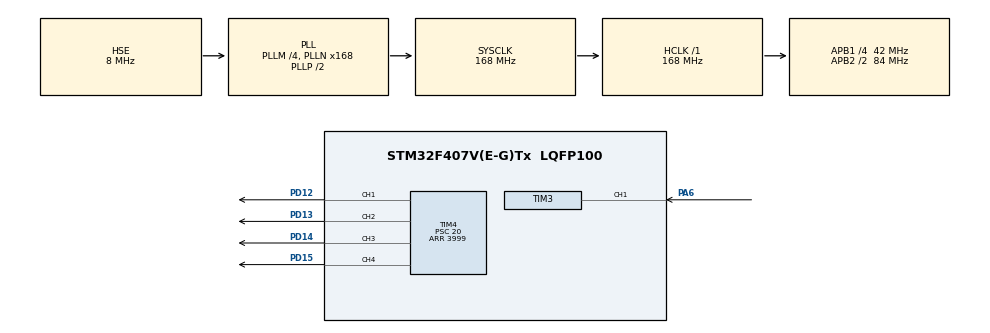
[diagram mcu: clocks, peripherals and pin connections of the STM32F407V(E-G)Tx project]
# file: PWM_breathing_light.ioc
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Mcu.Family=STM32F4
Mcu.Name=STM32F407V(E-G)Tx
Mcu.Package=LQFP100
NVIC.PriorityGroup=NVIC_PRIORITYGROUP_4
PA6.Signal=S_TIM3_CH1
PD12.Signal=S_TIM4_CH1
PD13.Signal=S_TIM4_CH2
PD14.Signal=S_TIM4_CH3
PD15.Signal=S_TIM4_CH4
PH0-OSC_IN.Mode=HSE-External-Oscillator
PH0-OSC_IN.Signal=RCC_OSC_IN
PH1-OSC_OUT.Mode=HSE-External-Oscillator
PH1-OSC_OUT.Signal=RCC_OSC_OUT
ProjectManager.HeapSize=0x200
ProjectManager.StackSize=0x400
ProjectManager.TargetToolchain=STM32CubeIDE
RCC.48MHZClocksFreq_Value=84000000
RCC.AHBFreq_Value=168000000
RCC.APB1CLKDivider=RCC_HCLK_DIV4
RCC.APB1Freq_Value=42000000
RCC.APB1TimFreq_Value=84000000
RCC.APB2CLKDivider=RCC_HCLK_DIV2
RCC.APB2Freq_Value=84000000
RCC.APB2TimFreq_Value=168000000
RCC.CortexFreq_Value=168000000
RCC.HCLKFreq_Value=168000000
RCC.HSE_VALUE=8000000
RCC.HSI_VALUE=16000000
RCC.LSE_VALUE=32768
RCC.PLLM=4
RCC.PLLN=168
RCC.PLLSourceVirtual=RCC_PLLSOURCE_HSE
RCC.SYSCLKFreq_VALUE=168000000
RCC.SYSCLKSource=RCC_SYSCLKSOURCE_PLLCLK
RCC.VCOOutputFreq_Value=336000000
SH.S_TIM3_CH1.0=TIM3_CH1,Input_Capture1_from_TI1
SH.S_TIM4_CH1.0=TIM4_CH1,PWM Generation1 CH1
SH.S_TIM4_CH2.0=TIM4_CH2,PWM Generation2 CH2
SH.S_TIM4_CH3.0=TIM4_CH3,PWM Generation3 CH3
SH.S_TIM4_CH4.0=TIM4_CH4,PWM Generation4 CH4
TIM3.Channel-Input_Capture1_from_TI1=TIM_CHANNEL_1
TIM4.Channel-PWM\ Generation1\ CH1=TIM_CHANNEL_1
TIM4.Channel-PWM\ Generation2\ CH2=TIM_CHANNEL_2
TIM4.Channel-PWM\ Generation3\ CH3=TIM_CHANNEL_3
TIM4.Channel-PWM\ Generation4\ CH4=TIM_CHANNEL_4
TIM4.Period=3999
TIM4.Prescaler=20
VP_TIM3_VS_ClockSourceINT.Mode=Internal
VP_TIM4_VS_ClockSourceINT.Mode=Internal
board=custom

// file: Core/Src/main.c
/* USER CODE BEGIN Header */
/**
  ******************************************************************************
  * @file           : main.c
  * @brief          : Main program body
  ******************************************************************************
  * @attention
  *
  * Copyright (c) 2026 STMicroelectronics.
  * All rights reserved.
  *
  * This software is licensed under terms that can be found in the LICENSE file
  * in the root directory of this software component.
  * If no LICENSE file comes with this software, it is provided AS-IS.
  *
  ******************************************************************************
  */
/* USER CODE END Header */
#include "main.h"

TIM_HandleTypeDef htim3;
TIM_HandleTypeDef htim4;

void SystemClock_Config(void);
static void MX_GPIO_Init(void);
static void MX_TIM4_Init(void);
static void MX_TIM3_Init(void);

/* USER CODE BEGIN 0 */

const uint16_t gamma_table[64] = {
    0,     1,     2,     3,     5,     7,    10,    14,
   20,    26,    33,    42,    52,    63,    76,    90,
  106,   124,   143,   164,   187,   213,   240,   270,
  302,   336,   372,   412,   453,   498,   545,   595,
  648,   704,   763,   825,   891,   960,  1032,  1108,
 1188,  1271,  1359,  1450,  1546,  1646,  1750,  1858,
 1971,  2088,  2210,  2337,  2468,  2605,  2747,  2894,
 3046,  3204,  3368,  3537,  3712,  3893,  3950,  3999
};

/* USER CODE END 0 */

int main(void)
{

  /* MCU Configuration--------------------------------------------------------*/

  /* Reset of all peripherals, Initializes the Flash interface and the Systick. */
  HAL_Init();

  /* Configure the system clock */
  SystemClock_Config();

  /* Initialize all configured peripherals */
  MX_GPIO_Init();
  MX_TIM4_Init();
  MX_TIM3_Init();
  /* USER CODE BEGIN 2 */

  HAL_TIM_PWM_Start(&htim4, TIM_CHANNEL_1); // 啟動綠燈 (PD12)
  HAL_TIM_PWM_Start(&htim4, TIM_CHANNEL_2); // 啟動橘燈 (PD13)
  HAL_TIM_PWM_Start(&htim4, TIM_CHANNEL_3); // 啟動紅燈 (PD14)
  HAL_TIM_PWM_Start(&htim4, TIM_CHANNEL_4); // 啟動藍燈 (PD15)
  /* USER CODE END 2 */

  /* Infinite loop */
  /* USER CODE BEGIN WHILE */
  uint8_t index = 0;
  while (1)
  {
	  // 逐漸變亮：遍歷 64 階 Gamma 曲線
	        for (index = 0; index < 64; index++)
	        {
	            __HAL_TIM_SET_COMPARE(&htim4, TIM_CHANNEL_1, gamma_table[index]);
	            __HAL_TIM_SET_COMPARE(&htim4, TIM_CHANNEL_2, gamma_table[index]);
	            __HAL_TIM_SET_COMPARE(&htim4, TIM_CHANNEL_3, gamma_table[index]);
	            __HAL_TIM_SET_COMPARE(&htim4, TIM_CHANNEL_4, gamma_table[index]);
	            HAL_Delay(25); // 每 25 毫秒更新一次亮度（從暗到最亮約 1.6 秒）
	        }

	        // 逐漸變暗
	        for (index = 63; index > 0; index--)
	        {
	            __HAL_TIM_SET_COMPARE(&htim4, TIM_CHANNEL_1, gamma_table[index]);
	            __HAL_TIM_SET_COMPARE(&htim4, TIM_CHANNEL_2, gamma_table[index]);
	            __HAL_TIM_SET_COMPARE(&htim4, TIM_CHANNEL_3, gamma_table[index]);
	            __HAL_TIM_SET_COMPARE(&htim4, TIM_CHANNEL_4, gamma_table[index]);
	            HAL_Delay(25); // 每 25 毫秒更新一次亮度
	        }
    /* USER CODE END WHILE */

  }
}

void SystemClock_Config(void)
{
  RCC_OscInitTypeDef RCC_OscInitStruct = {0};
  RCC_ClkInitTypeDef RCC_ClkInitStruct = {0};

  /** Configure the main internal regulator output voltage
  */
  __HAL_RCC_PWR_CLK_ENABLE();
  __HAL_PWR_VOLTAGESCALING_CONFIG(PWR_REGULATOR_VOLTAGE_SCALE1);

  /** Initializes the RCC Oscillators according to the specified parameters
  * in the RCC_OscInitTypeDef structure.
  */
  RCC_OscInitStruct.OscillatorType = RCC_OSCILLATORTYPE_HSE;
  RCC_OscInitStruct.HSEState = RCC_HSE_ON;
  RCC_OscInitStruct.PLL.PLLState = RCC_PLL_ON;
  RCC_OscInitStruct.PLL.PLLSource = RCC_PLLSOURCE_HSE;
  RCC_OscInitStruct.PLL.PLLM = 4;
  RCC_OscInitStruct.PLL.PLLN = 168;
  RCC_OscInitStruct.PLL.PLLP = RCC_PLLP_DIV2;
  RCC_OscInitStruct.PLL.PLLQ = 4;
  if (HAL_RCC_OscConfig(&RCC_OscInitStruct) != HAL_OK)
  {
    Error_Handler();
  }

  /** Initializes the CPU, AHB and APB buses clocks
  */
  RCC_ClkInitStruct.ClockType = RCC_CLOCKTYPE_HCLK|RCC_CLOCKTYPE_SYSCLK
                              |RCC_CLOCKTYPE_PCLK1|RCC_CLOCKTYPE_PCLK2;
  RCC_ClkInitStruct.SYSCLKSource = RCC_SYSCLKSOURCE_PLLCLK;
  RCC_ClkInitStruct.AHBCLKDivider = RCC_SYSCLK_DIV1;
  RCC_ClkInitStruct.APB1CLKDivider = RCC_HCLK_DIV4;
  RCC_ClkInitStruct.APB2CLKDivider = RCC_HCLK_DIV2;

  if (HAL_RCC_ClockConfig(&RCC_ClkInitStruct, FLASH_LATENCY_5) != HAL_OK)
  {
    Error_Handler();
  }
}

static void MX_TIM3_Init(void)
{

  TIM_ClockConfigTypeDef sClockSourceConfig = {0};
  TIM_MasterConfigTypeDef sMasterConfig = {0};
  TIM_IC_InitTypeDef sConfigIC = {0};

  htim3.Instance = TIM3;
  htim3.Init.Prescaler = 0;
  htim3.Init.CounterMode = TIM_COUNTERMODE_UP;
  htim3.Init.Period = 65535;
  htim3.Init.ClockDivision = TIM_CLOCKDIVISION_DIV1;
  htim3.Init.AutoReloadPreload = TIM_AUTORELOAD_PRELOAD_DISABLE;
  if (HAL_TIM_Base_Init(&htim3) != HAL_OK)
  {
    Error_Handler();
  }
  sClockSourceConfig.ClockSource = TIM_CLOCKSOURCE_INTERNAL;
  if (HAL_TIM_ConfigClockSource(&htim3, &sClockSourceConfig) != HAL_OK)
  {
    Error_Handler();
  }
  if (HAL_TIM_IC_Init(&htim3) != HAL_OK)
  {
    Error_Handler();
  }
  sMasterConfig.MasterOutputTrigger = TIM_TRGO_RESET;
  sMasterConfig.MasterSlaveMode = TIM_MASTERSLAVEMODE_DISABLE;
  if (HAL_TIMEx_MasterConfigSynchronization(&htim3, &sMasterConfig) != HAL_OK)
  {
    Error_Handler();
  }
  sConfigIC.ICPolarity = TIM_INPUTCHANNELPOLARITY_RISING;
  sConfigIC.ICSelection = TIM_ICSELECTION_DIRECTTI;
  sConfigIC.ICPrescaler = TIM_ICPSC_DIV1;
  sConfigIC.ICFilter = 0;
  if (HAL_TIM_IC_ConfigChannel(&htim3, &sConfigIC, TIM_CHANNEL_1) != HAL_OK)
  {
    Error_Handler();
  }

}

static void MX_TIM4_Init(void)
{

  TIM_ClockConfigTypeDef sClockSourceConfig = {0};
  TIM_MasterConfigTypeDef sMasterConfig = {0};
  TIM_OC_InitTypeDef sConfigOC = {0};

  htim4.Instance = TIM4;
  htim4.Init.Prescaler = 20;
  htim4.Init.CounterMode = TIM_COUNTERMODE_UP;
  htim4.Init.Period = 3999;
  htim4.Init.ClockDivision = TIM_CLOCKDIVISION_DIV1;
  htim4.Init.AutoReloadPreload = TIM_AUTORELOAD_PRELOAD_DISABLE;
  if (HAL_TIM_Base_Init(&htim4) != HAL_OK)
  {
    Error_Handler();
  }
  sClockSourceConfig.ClockSource = TIM_CLOCKSOURCE_INTERNAL;
  if (HAL_TIM_ConfigClockSource(&htim4, &sClockSourceConfig) != HAL_OK)
  {
    Error_Handler();
  }
  if (HAL_TIM_PWM_Init(&htim4) != HAL_OK)
  {
    Error_Handler();
  }
  sMasterConfig.MasterOutputTrigger = TIM_TRGO_RESET;
  sMasterConfig.MasterSlaveMode = TIM_MASTERSLAVEMODE_DISABLE;
  if (HAL_TIMEx_MasterConfigSynchronization(&htim4, &sMasterConfig) != HAL_OK)
  {
    Error_Handler();
  }
  sConfigOC.OCMode = TIM_OCMODE_PWM1;
  sConfigOC.Pulse = 0;
  sConfigOC.OCPolarity = TIM_OCPOLARITY_HIGH;
  sConfigOC.OCFastMode = TIM_OCFAST_DISABLE;
  if (HAL_TIM_PWM_ConfigChannel(&htim4, &sConfigOC, TIM_CHANNEL_1) != HAL_OK)
  {
    Error_Handler();
  }
  if (HAL_TIM_PWM_ConfigChannel(&htim4, &sConfigOC, TIM_CHANNEL_2) != HAL_OK)
  {
    Error_Handler();
  }
  if (HAL_TIM_PWM_ConfigChannel(&htim4, &sConfigOC, TIM_CHANNEL_3) != HAL_OK)
  {
    Error_Handler();
  }
  if (HAL_TIM_PWM_ConfigChannel(&htim4, &sConfigOC, TIM_CHANNEL_4) != HAL_OK)
  {
    Error_Handler();
  }
  HAL_TIM_MspPostInit(&htim4);

}

static void MX_GPIO_Init(void)
{

  /* GPIO Ports Clock Enable */
  __HAL_RCC_GPIOH_CLK_ENABLE();
  __HAL_RCC_GPIOA_CLK_ENABLE();
  __HAL_RCC_GPIOD_CLK_ENABLE();

}

void Error_Handler(void)
{
  __disable_irq();
  while (1)
  {
  }
}
